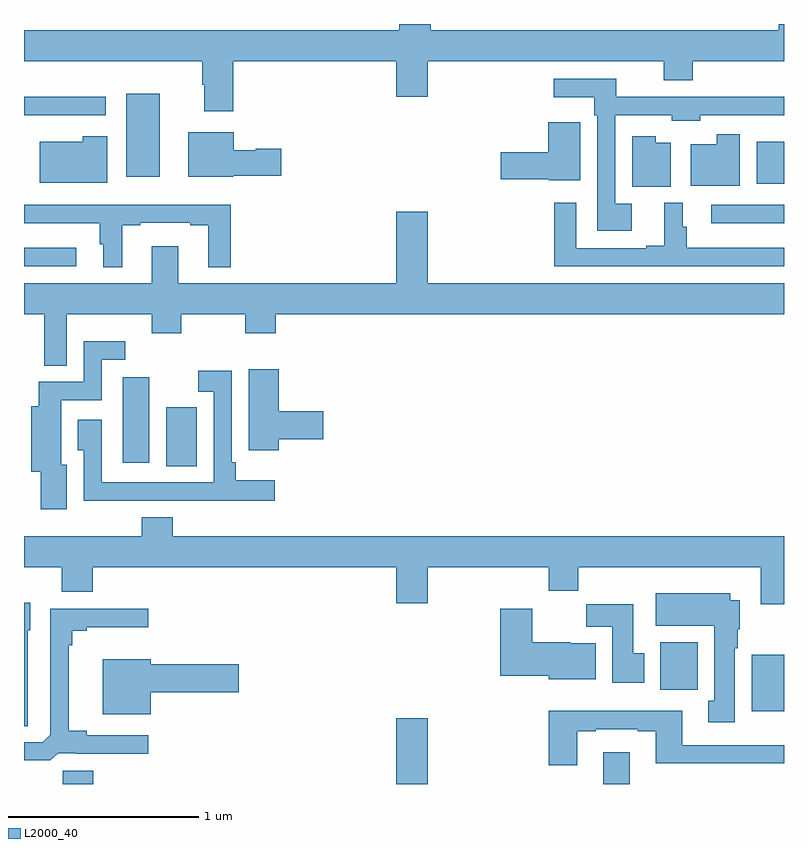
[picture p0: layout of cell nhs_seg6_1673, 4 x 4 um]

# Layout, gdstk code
import gdstk
lib = gdstk.Library(unit=1e-6, precision=1e-09)
def R(c, l, rs):  # rectangles x0, y0, x1, y1
    for r in rs: c.add(gdstk.rectangle(r[:2], r[2:], *l))
def P(c, l, *ps):  # polygons
    for p in ps: c.add(gdstk.Polygon(p, *l))
L2000_40 = (2000, 40)

nhs_seg6_1673 = lib.new_cell('nhs_seg6_1673')
R(nhs_seg6_1673, L2000_40, [(211.204,975.5,211.364,975.57), (212.96,975.5,213.124,975.847), (214.049,975.5,214.189,975.667), (214.829,975.884,215,976.18), (214.349,975.996,214.545,976.246), (211.748,977.173,211.909,977.484), (211.52,977.19,211.66,977.641), (211,978.225,211.276,978.322), (214.617,978.452,215,978.549), (214.856,978.659,215,978.88), (211.538,978.695,211.714,979.132)])
P(nhs_seg6_1673, L2000_40, [(212.102,979.304),(212.96,979.304),(212.96,979.116),(213.124,979.116),(213.124,979.304),(214.367,979.304),(214.367,979.205),(214.52,979.205),(214.52,979.304),(215,979.304),(215,979.5),(214.973,979.5),(214.973,979.468),(213.14,979.468),(213.14,979.5),(212.975,979.5),(212.975,979.468),(211,979.468),(211,979.304),(211.937,979.304),(211.937,979.181),(211.949,979.181),(211.949,979.041),(212.102,979.041)],
  [(214.198,978.553),(214.113,978.553),(214.113,979.02),(214.41,979.02),(214.41,978.992),(214.56,978.992),(214.56,979.02),(214.864,979.02),(214.864,979.019),(215,979.019),(215,979.118),(214.116,979.118),(214.116,979.212),(213.789,979.212),(213.789,979.115),(214.001,979.115),(214.001,979.019),(214.017,979.019),(214.017,978.413),(214.198,978.413)],
  [(211.429,979.118),(211,979.118),(211,979.02),(211.09,979.02),(211.09,979.019),(211.429,979.019)],
  [(213.928,978.881),(213.927,978.881),(213.927,978.984),(213.758,978.984),(213.758,978.825),(213.51,978.825),(213.51,978.683),(213.762,978.683),(213.762,978.677),(213.928,978.677)],
  [(212.1,978.701),(212.353,978.701),(212.353,978.843),(212.22,978.843),(212.22,978.835),(212.104,978.835),(212.104,978.931),(211.865,978.931),(211.865,978.695),(212.1,978.695)],
  [(214.768,978.919),(214.646,978.919),(214.646,978.868),(214.508,978.868),(214.508,978.65),(214.768,978.65)],
  [(214.405,978.874),(214.324,978.874),(214.324,978.91),(214.202,978.91),(214.202,978.644),(214.405,978.644)],
  [(211.438,978.91),(211.309,978.91),(211.309,978.88),(211.082,978.88),(211.082,978.665),(211.438,978.665)],
  [(215,978.322),(214.487,978.322),(214.487,978.432),(214.468,978.432),(214.468,978.559),(214.37,978.559),(214.37,978.334),(214.274,978.334),(214.274,978.321),(213.906,978.321),(213.906,978.559),(213.79,978.559),(213.79,978.225),(215,978.225)],
  [(211.516,978.441),(211.612,978.441),(211.612,978.453),(211.874,978.453),(211.874,978.441),(211.97,978.441),(211.97,978.221),(212.087,978.221),(212.087,978.55),(211.542,978.55),(211.542,978.549),(211,978.549),(211,978.452),(211.399,978.452),(211.399,978.342),(211.418,978.342),(211.418,978.221),(211.516,978.221)],
  [(211.225,977.972),(211.672,977.972),(211.672,977.873),(211.827,977.873),(211.827,977.972),(212.164,977.972),(212.164,977.873),(212.324,977.873),(212.324,977.972),(215,977.972),(215,978.136),(213.124,978.136),(213.124,978.511),(212.96,978.511),(212.96,978.136),(211.813,978.136),(211.813,978.331),(211.673,978.331),(211.673,978.136),(211,978.136),(211,977.972),(211.107,977.972),(211.107,977.701),(211.225,977.701)],
  [(211.225,977.179),(211.195,977.179),(211.195,977.52),(211.41,977.52),(211.41,977.733),(211.534,977.733),(211.534,977.83),(211.314,977.83),(211.314,977.616),(211.077,977.616),(211.077,977.488),(211.037,977.488),(211.037,977.144),(211.087,977.144),(211.087,976.947),(211.225,976.947)],
  [(212.342,977.315),(212.575,977.315),(212.575,977.462),(212.342,977.462),(212.342,977.683),(212.183,977.683),(212.183,977.256),(212.342,977.256)],
  [(211.535,976.992),(211.901,976.992),(211.901,976.991),(212.32,976.991),(212.32,977.098),(212.114,977.098),(212.114,977.194),(212.094,977.194),(212.094,977.674),(211.917,977.674),(211.917,977.565),(211.998,977.565),(211.998,977.088),(211.41,977.088),(211.41,977.416),(211.283,977.416),(211.283,977.257),(211.314,977.257),(211.314,976.991),(211.535,976.991)],
  [(215,976.804),(211.784,976.804),(211.784,976.903),(211.619,976.903),(211.619,976.804),(211,976.804),(211,976.64),(211.199,976.64),(211.199,976.512),(211.363,976.512),(211.363,976.64),(212.96,976.64),(212.96,976.452),(213.124,976.452),(213.124,976.64),(213.761,976.64),(213.761,976.516),(213.917,976.516),(213.917,976.64),(214.877,976.64),(214.877,976.446),(215,976.446)],
  [(214.741,976.214),(214.756,976.214),(214.756,976.314),(214.768,976.314),(214.768,976.468),(214.717,976.468),(214.717,976.504),(214.325,976.504),(214.325,976.334),(214.634,976.334),(214.634,975.937),(214.601,975.937),(214.601,975.825),(214.741,975.825)],
  [(211.02,976.308),(211.033,976.308),(211.033,976.453),(211,976.453),(211,975.805),(211.02,975.805)],
  [(214.264,976.188),(214.207,976.188),(214.207,976.446),(213.958,976.446),(213.958,976.328),(214.097,976.328),(214.097,976.032),(214.264,976.032)],
  [(214.009,976.24),(213.876,976.24),(213.876,976.246),(213.676,976.246),(213.676,976.423),(213.506,976.423),(213.506,976.07),(213.762,976.07),(213.762,976.052),(214.009,976.052)],
  [(211.179,975.663),(211.273,975.663),(211.273,975.659),(211.654,975.659),(211.654,975.756),(211.33,975.756),(211.33,975.779),(211.235,975.779),(211.235,976.229),(211.253,976.229),(211.253,976.306),(211.33,976.306),(211.33,976.325),(211.654,976.325),(211.654,976.422),(211.137,976.422),(211.137,975.759),(211.098,975.72),(211,975.72),(211,975.624),(211.139,975.624)],
  [(211.666,975.983),(212.131,975.983),(212.131,976.13),(211.666,976.13),(211.666,976.156),(211.415,976.156),(211.415,975.866),(211.666,975.866)],
  [(213.913,975.777),(214.009,975.777),(214.009,975.789),(214.229,975.789),(214.229,975.777),(214.325,975.777),(214.325,975.608),(215,975.608),(215,975.705),(214.465,975.705),(214.465,975.886),(213.761,975.886),(213.761,975.6),(213.913,975.6)])

lib.write_gds('nhs_seg6_1673.gds')
